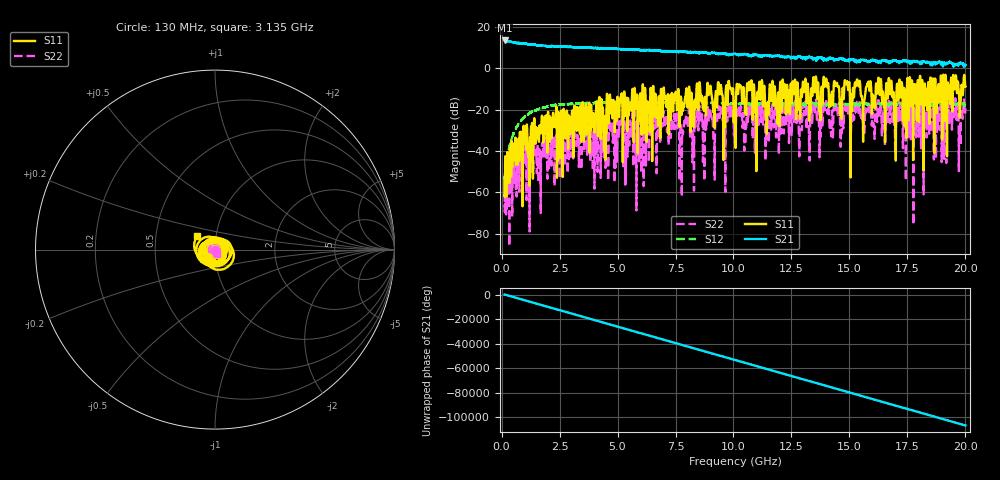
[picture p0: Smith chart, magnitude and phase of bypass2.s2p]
!Created with skrf (http://scikit-rf.org).
# GHz S RI R 50.0
!freq ReS11 ImS11 ReS21 ImS21 ReS12 ImS12 ReS22 ImS22
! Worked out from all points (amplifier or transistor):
!   20013 points, 130 MHz to 20 GHz, reference 50 ohm
!   highest |S21| = 13.5 dB at 130 MHz (marker M1)
!   |S21| within 3 dB of that: start of sweep to 2.666 GHz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
!   unconditionally stable (mu >= 1): start of sweep to end of sweep
!   at 3.465 GHz: K = 1.32, MAG = 10.1 dB, |S12| = -16.9 dB
!   at 10.14 GHz: K = 1.56, MAG = 7.5 dB, |S12| = -17.1 dB
!   at 20 GHz: K = 2.81, MAG = 2.2 dB, |S12| = -17.5 dB
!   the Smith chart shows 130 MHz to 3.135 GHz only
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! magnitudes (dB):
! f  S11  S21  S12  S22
! 130 MHz  -53.3  13.5  -53.6  -60.5
! 957 MHz  -28.8  11.9  -23.9  -37.9
! 3.442 GHz  -22.5  10.1  -16.9  -42.2
! 6.754 GHz  -22.1  8.5  -16.5  -29.7
! 8.215 GHz  -17.2  7.7  -16.7  -27.7
! 8.948 GHz  -11.7  7.2  -16.9  -23.3
! 10.06 GHz  -17.1  7.0  -16.8  -34.0
! 13.38 GHz  -11.6  5.3  -16.6  -23.9
! 14.42 GHz  -8.0  4.2  -17.6  -19.5
! 14.67 GHz  -22.8  4.7  -16.9  -30.4
! 14.89 GHz  -6.6  3.7  -17.7  -16.8
! 15.12 GHz  -20.5  4.4  -16.9  -25.7
! 15.37 GHz  -6.5  3.5  -17.8  -18.0
! 15.58 GHz  -24.6  4.0  -16.9  -28.2
! 16.29 GHz  -9.9  3.5  -17.1  -23.2
! 16.48 GHz  -17.8  3.9  -16.7  -24.7
! 16.69 GHz  -5.0  2.7  -17.8  -16.2
! 16.93 GHz  -25.7  3.7  -17.0  -26.9
! 17.15 GHz  -5.5  2.5  -18.1  -16.3
! 19.52 GHz  -7.9  2.2  -17.1  -24.4
! 19.79 GHz  -17.5  2.6  -16.6  -33.6
! 20 GHz  -9.0  1.6  -17.5  -19.2
